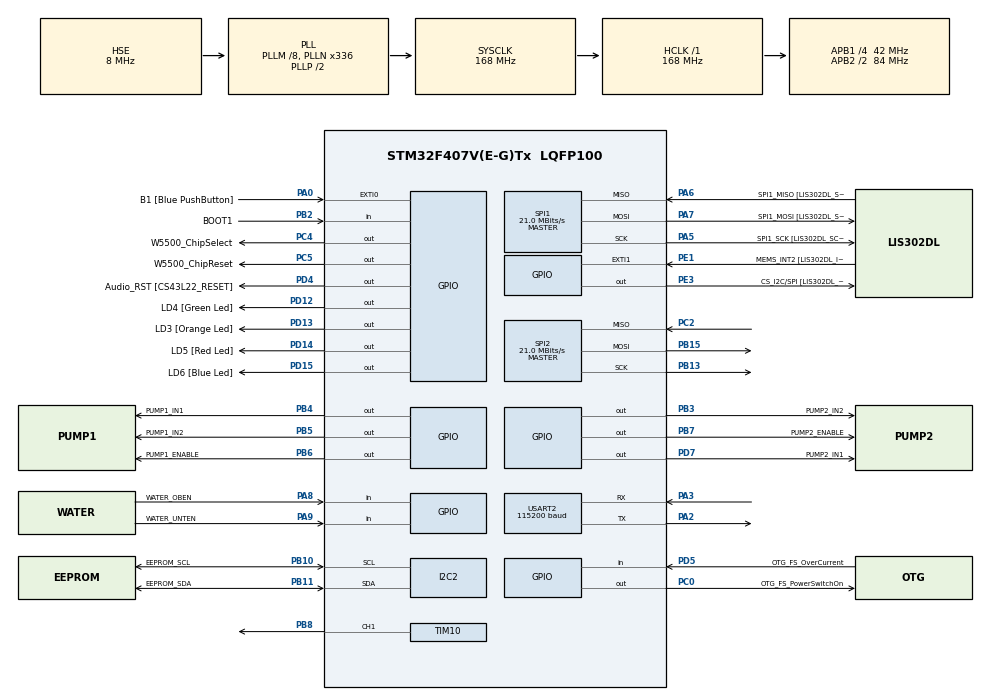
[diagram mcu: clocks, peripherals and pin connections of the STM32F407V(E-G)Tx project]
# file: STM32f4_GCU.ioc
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FREERTOS.Events01=gControllerEventGroup,Static,gControllerEventGroupControlBlock;INITIALIZATION_COMPLETE,Static,INITIALIZATION_COMPLETEControlBlock
FREERTOS.Mutexes01=gControllerStateMutex,Static,gControllerStateMutexControlBlock,Depleted;gGrowCycleConfigMutex,Static,gGrowCycleConfigMutexControlBlock,Depleted;gEepromMutex,Static,gEepromMutexControlBlock,Depleted;gLoggerMutex,Static,gLoggerMutexControlBlock,Depleted;gConfigAvailableMutex,Static,gConfigAvailableMutexControlBlock,Depleted;gStartTimeMutex,Static,gStartTimeMutexControlBlock,Depleted;gMessagePoolMutex,Static,gMessagePoolMutexControlBlock,Depleted;gHeartbeatMutex,Static,gHeartbeatMutexControlBlock,Depleted;gManualModeMutex,Static,gManualModeMutexControlBlock,Depleted
FREERTOS.Queues01=xWaterControllerQueue,1,uint8_t,0,Static,xWaterControllerQueueBuffer,xWaterControllerQueueControlBlock;xLightControllerQueue,1,uint8_t,0,Static,xLightControllerQueueBuffer,xLightControllerQueueControlBlock;xWebSocketQueue,3,6,1,Static,xWebSocketQueueBuffer,xWebSocketQueueControlBlock;xHardwareQueue,2,8,1,Static,xHardwareQueueBuffer,xHardwareQueueControlBlock;xWaterCommandQueue,3,4,1,Static,xWaterCommandQueueBuffer,xWaterCommandQueueControlBlock;xLightCommandQueue,3,4,1,Static,xLightCommandQueueBuffer,xLightCommandQueueControlBlock
FREERTOS.Tasks01=AliveTask,24,512,StartAliveTask,Default,NULL,Static,AliveTaskBuffer,AliveTaskControlBlock;NetworkTask,32,3000,StartNetworkTask,Default,NULL,Dynamic,NULL,NULL;WaterController,25,1024,StartWaterControllerTask,Default,NULL,Static,WaterControllerBuffer,WaterControllerControlBlock;LightTask,26,1024,StartLightTask,Default,NULL,Static,LightTaskBuffer,LightTaskControlBlock;SensorTask,8,512,StartSensorTask,Default,NULL,Static,SensorTaskBuffer,SensorTaskControlBlock;HardwareTask,32,512,StartHardwareTask,Default,NULL,Static,HardwareTaskBuffer,HardwareTaskControlBlock
FREERTOS.configCHECK_FOR_STACK_OVERFLOW=1
FREERTOS.configUSE_NEWLIB_REENTRANT=1
I2C2.I2C_Mode=I2C_Fast
Mcu.Family=STM32F4
Mcu.Name=STM32F407V(E-G)Tx
Mcu.Package=LQFP100
NVIC.PriorityGroup=NVIC_PRIORITYGROUP_4
NVIC.TIM1_UP_TIM10_IRQn=true\:5\:0\:false\:false\:true\:false\:false\:true\:true
NVIC.TimeBase=TIM1_UP_TIM10_IRQn
NVIC.TimeBaseIP=TIM1
PA0-WKUP.GPIO_Label=B1 [Blue PushButton]
PA0-WKUP.GPIO_ModeDefaultEXTI=GPIO_MODE_EVT_RISING
PA0-WKUP.GPIO_PuPd=GPIO_NOPULL
PA0-WKUP.Signal=GPXTI0
PA13.GPIO_Label=SWDIO
PA13.Mode=Serial_Wire
PA13.Signal=SYS_JTMS-SWDIO
PA14.GPIO_Label=SWCLK
PA14.Mode=Serial_Wire
PA14.Signal=SYS_JTCK-SWCLK
PA2.Mode=Asynchronous
PA2.Signal=USART2_TX
PA3.Mode=Asynchronous
PA3.Signal=USART2_RX
PA5.GPIO_Label=SPI1_SCK [LIS302DL_SCL/SPC]
PA5.GPIO_Mode=GPIO_MODE_AF_PP
PA5.GPIO_PuPd=GPIO_NOPULL
PA5.GPIO_Speed=GPIO_SPEED_FREQ_LOW
PA5.Mode=Full_Duplex_Master
PA5.Signal=SPI1_SCK
PA6.GPIO_Label=SPI1_MISO [LIS302DL_SDO]
PA6.GPIO_Mode=GPIO_MODE_AF_PP
PA6.GPIO_PuPd=GPIO_NOPULL
PA6.GPIO_Speed=GPIO_SPEED_FREQ_LOW
PA6.Mode=Full_Duplex_Master
PA6.Signal=SPI1_MISO
PA7.GPIO_Label=SPI1_MOSI [LIS302DL_SDA/SDI/SDO]
PA7.GPIO_Mode=GPIO_MODE_AF_PP
PA7.GPIO_PuPd=GPIO_NOPULL
PA7.GPIO_Speed=GPIO_SPEED_FREQ_LOW
PA7.Mode=Full_Duplex_Master
PA7.Signal=SPI1_MOSI
PA8.GPIO_Label=WATER_OBEN
PA8.Signal=GPIO_Input
PA9.GPIO_Label=WATER_UNTEN
PA9.Signal=GPIO_Input
PB10.GPIO_Label=EEPROM_SCL
PB10.Mode=I2C
PB10.Signal=I2C2_SCL
PB11.GPIO_Label=EEPROM_SDA
PB11.Mode=I2C
PB11.Signal=I2C2_SDA
PB13.Mode=Full_Duplex_Master
PB13.Signal=SPI2_SCK
PB15.Mode=Full_Duplex_Master
PB15.Signal=SPI2_MOSI
PB2.GPIO_Label=BOOT1
PB2.GPIO_Mode=GPIO_MODE_INPUT
PB2.GPIO_PuPd=GPIO_NOPULL
PB2.Signal=GPIO_Input
PB3.GPIO_Label=PUMP2_IN2
PB3.Signal=GPIO_Output
PB4.GPIO_Label=PUMP1_IN1
PB4.Signal=GPIO_Output
PB5.GPIO_Label=PUMP1_IN2
PB5.Signal=GPIO_Output
PB6.GPIO_Label=PUMP1_ENABLE
PB6.Signal=GPIO_Output
PB7.GPIO_Label=PUMP2_ENABLE
PB7.Signal=GPIO_Output
PB8.Signal=S_TIM10_CH1
PC0.GPIO_Label=OTG_FS_PowerSwitchOn
PC0.GPIO_PuPd=GPIO_NOPULL
PC0.GPIO_Speed=GPIO_SPEED_FREQ_LOW
PC0.PinState=GPIO_PIN_SET
PC0.Signal=GPIO_Output
PC14-OSC32_IN.GPIO_Label=PC14-OSC32_IN
PC14-OSC32_IN.Mode=LSE-External-Oscillator
PC14-OSC32_IN.Signal=RCC_OSC32_IN
PC15-OSC32_OUT.GPIO_Label=PC15-OSC32_OUT
PC15-OSC32_OUT.Mode=LSE-External-Oscillator
PC15-OSC32_OUT.Signal=RCC_OSC32_OUT
PC2.Mode=Full_Duplex_Master
PC2.Signal=SPI2_MISO
PC4.GPIO_Label=W5500_ChipSelect
PC4.Signal=GPIO_Output
PC5.GPIO_Label=W5500_ChipReset
PC5.Signal=GPIO_Output
PD12.GPIO_Label=LD4 [Green Led]
PD12.GPIO_PuPd=GPIO_NOPULL
PD12.GPIO_Speed=GPIO_SPEED_FREQ_LOW
PD12.Signal=GPIO_Output
PD13.GPIO_Label=LD3 [Orange Led]
PD13.GPIO_PuPd=GPIO_NOPULL
PD13.GPIO_Speed=GPIO_SPEED_FREQ_LOW
PD13.Signal=GPIO_Output
PD14.GPIO_Label=LD5 [Red Led]
PD14.GPIO_PuPd=GPIO_NOPULL
PD14.GPIO_Speed=GPIO_SPEED_FREQ_LOW
PD14.Signal=GPIO_Output
PD15.GPIO_Label=LD6 [Blue Led]
PD15.GPIO_PuPd=GPIO_NOPULL
PD15.GPIO_Speed=GPIO_SPEED_FREQ_LOW
PD15.Signal=GPIO_Output
PD4.GPIO_Label=Audio_RST [CS43L22_RESET]
PD4.GPIO_PuPd=GPIO_NOPULL
PD4.GPIO_Speed=GPIO_SPEED_FREQ_LOW
PD4.Signal=GPIO_Output
PD5.GPIO_Label=OTG_FS_OverCurrent
PD5.GPIO_Mode=GPIO_MODE_INPUT
PD5.GPIO_PuPd=GPIO_NOPULL
PD5.Signal=GPIO_Input
PD7.GPIO_Label=PUMP2_IN1
PD7.Signal=GPIO_Output
PE1.GPIO_Label=MEMS_INT2 [LIS302DL_INT2]
PE1.GPIO_ModeDefaultEXTI=GPIO_MODE_EVT_RISING
PE1.GPIO_PuPd=GPIO_NOPULL
PE1.Signal=GPXTI1
PE3.GPIO_Label=CS_I2C/SPI [LIS302DL_CS_I2C/SPI]
PE3.GPIO_PuPd=GPIO_NOPULL
PE3.GPIO_Speed=GPIO_SPEED_FREQ_LOW
PE3.Signal=GPIO_Output
PH0-OSC_IN.GPIO_Label=PH0-OSC_IN
PH0-OSC_IN.Mode=HSE-External-Oscillator
PH0-OSC_IN.Signal=RCC_OSC_IN
PH1-OSC_OUT.GPIO_Label=PH1-OSC_OUT
PH1-OSC_OUT.Mode=HSE-External-Oscillator
PH1-OSC_OUT.Signal=RCC_OSC_OUT
ProjectManager.HeapSize=0x200
ProjectManager.StackSize=0x400
ProjectManager.TargetToolchain=STM32CubeIDE
RCC.48MHZClocksFreq_Value=48000000
RCC.AHBFreq_Value=168000000
RCC.APB1CLKDivider=RCC_HCLK_DIV4
RCC.APB1Freq_Value=42000000
RCC.APB1TimFreq_Value=84000000
RCC.APB2CLKDivider=RCC_HCLK_DIV2
RCC.APB2Freq_Value=84000000
RCC.APB2TimFreq_Value=168000000
RCC.CortexFreq_Value=168000000
RCC.HCLKFreq_Value=168000000
RCC.HSE_VALUE=8000000
RCC.HSI_VALUE=16000000
RCC.PLLM=8
RCC.PLLN=336
RCC.PLLQ=7
RCC.PLLSourceVirtual=RCC_PLLSOURCE_HSE
RCC.SYSCLKFreq_VALUE=168000000
RCC.SYSCLKSource=RCC_SYSCLKSOURCE_PLLCLK
RCC.VCOOutputFreq_Value=336000000
SH.S_TIM10_CH1.0=TIM10_CH1,PWM Generation1 CH1
SPI1.BaudRatePrescaler=SPI_BAUDRATEPRESCALER_4
SPI1.BaudRatePrescaler-Full_Duplex_Master=SPI_BAUDRATEPRESCALER_2
SPI1.CalculateBaudRate=21.0 MBits/s
SPI1.CalculateBaudRate-Full_Duplex_Master=42.0 MBits/s
SPI1.Direction=SPI_DIRECTION_2LINES
SPI1.Mode=SPI_MODE_MASTER
SPI1.Mode-Full_Duplex_Master=SPI_MODE_MASTER
SPI1.VirtualType=VM_MASTER
SPI2.CalculateBaudRate=21.0 MBits/s
SPI2.Direction=SPI_DIRECTION_2LINES
SPI2.Mode=SPI_MODE_MASTER
SPI2.VirtualType=VM_MASTER
TIM10.AutoReloadPreload=TIM_AUTORELOAD_PRELOAD_ENABLE
TIM10.Channel=TIM_CHANNEL_1
TIM10.Period=999
TIM10.Prescaler=84
TIM3.Period=999
TIM3.Prescaler=83
TIM6.AutoReloadPreload=TIM_AUTORELOAD_PRELOAD_ENABLE
TIM6.Period=999
TIM6.Prescaler=83
USART2.BaudRate=115200
USART2.VirtualMode=VM_ASYNC
VP_FREERTOS_VS_CMSIS_V2.Mode=CMSIS_V2
VP_SYS_VS_tim1.Mode=TIM1
VP_TIM10_VS_ClockSourceINT.Mode=Enable_Timer
VP_TIM3_VS_ClockSourceINT.Mode=Internal
VP_TIM6_VS_ClockSourceINT.Mode=Enable_Timer
board=STM32F407G-DISC1

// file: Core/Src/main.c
/* USER CODE BEGIN Header */
/**
  ******************************************************************************
  * @file           : main.c
  * @brief          : Main program body
  ******************************************************************************
  * @attention
  *
  * Copyright (c) 2024 STMicroelectronics.
  * All rights reserved.
  *
  * This software is licensed under terms that can be found in the LICENSE file
  * in the root directory of this software component.
  * If no LICENSE file comes with this software, it is provided AS-IS.
  *
  ******************************************************************************
  */
/* USER CODE END Header */
#include "main.h"
#include "cmsis_os.h"

/* USER CODE BEGIN Includes */
#include "stm32f4xx_hal.h"
#include <stdio.h>
#include <string.h>
#include <stdint.h>
#include <stdbool.h>
#include "socket.h"
#include "stdlib.h"
#include "math.h"

/* other */
#include "globals.h"

#include "controller_state.h"
#include "state_manager.h"
#include "uart_redirect.h"
#include "wizchip_init.h"
#include "logger.h"
#include "helper_websocket.h"

/* Tasks */
#include "task_alive.h"
#include "task_hardware.h"
#include "task_light_controller.h"
#include "task_network.h"
#include "task_sensor.h"
#include "task_water_controller.h"

/* USER CODE END Includes */

typedef StaticTask_t osStaticThreadDef_t;
typedef StaticQueue_t osStaticMessageQDef_t;
typedef StaticSemaphore_t osStaticMutexDef_t;
typedef StaticEventGroup_t osStaticEventGroupDef_t;

I2C_HandleTypeDef hi2c2;

SPI_HandleTypeDef hspi1;
SPI_HandleTypeDef hspi2;

TIM_HandleTypeDef htim3;
TIM_HandleTypeDef htim6;
TIM_HandleTypeDef htim10;

UART_HandleTypeDef huart2;

/* Definitions for AliveTask */
osThreadId_t AliveTaskHandle;
uint32_t AliveTaskBuffer[ 512 ];
osStaticThreadDef_t AliveTaskControlBlock;
const osThreadAttr_t AliveTask_attributes = {
  .name = "AliveTask",
  .cb_mem = &AliveTaskControlBlock,
  .cb_size = sizeof(AliveTaskControlBlock),
  .stack_mem = &AliveTaskBuffer[0],
  .stack_size = sizeof(AliveTaskBuffer),
  .priority = (osPriority_t) osPriorityNormal,
};
/* Definitions for NetworkTask */
osThreadId_t NetworkTaskHandle;
const osThreadAttr_t NetworkTask_attributes = {
  .name = "NetworkTask",
  .stack_size = 3000 * 4,
  .priority = (osPriority_t) osPriorityAboveNormal,
};
/* Definitions for WaterController */
osThreadId_t WaterControllerHandle;
uint32_t WaterControllerBuffer[ 1024 ];
osStaticThreadDef_t WaterControllerControlBlock;
const osThreadAttr_t WaterController_attributes = {
  .name = "WaterController",
  .cb_mem = &WaterControllerControlBlock,
  .cb_size = sizeof(WaterControllerControlBlock),
  .stack_mem = &WaterControllerBuffer[0],
  .stack_size = sizeof(WaterControllerBuffer),
  .priority = (osPriority_t) osPriorityNormal1,
};
/* Definitions for LightTask */
osThreadId_t LightTaskHandle;
uint32_t LightTaskBuffer[ 1024 ];
osStaticThreadDef_t LightTaskControlBlock;
const osThreadAttr_t LightTask_attributes = {
  .name = "LightTask",
  .cb_mem = &LightTaskControlBlock,
  .cb_size = sizeof(LightTaskControlBlock),
  .stack_mem = &LightTaskBuffer[0],
  .stack_size = sizeof(LightTaskBuffer),
  .priority = (osPriority_t) osPriorityNormal2,
};
/* Definitions for SensorTask */
osThreadId_t SensorTaskHandle;
uint32_t SensorTaskBuffer[ 512 ];
osStaticThreadDef_t SensorTaskControlBlock;
const osThreadAttr_t SensorTask_attributes = {
  .name = "SensorTask",
  .cb_mem = &SensorTaskControlBlock,
  .cb_size = sizeof(SensorTaskControlBlock),
  .stack_mem = &SensorTaskBuffer[0],
  .stack_size = sizeof(SensorTaskBuffer),
  .priority = (osPriority_t) osPriorityLow,
};
/* Definitions for HardwareTask */
osThreadId_t HardwareTaskHandle;
uint32_t HardwareTaskBuffer[ 512 ];
osStaticThreadDef_t HardwareTaskControlBlock;
const osThreadAttr_t HardwareTask_attributes = {
  .name = "HardwareTask",
  .cb_mem = &HardwareTaskControlBlock,
  .cb_size = sizeof(HardwareTaskControlBlock),
  .stack_mem = &HardwareTaskBuffer[0],
  .stack_size = sizeof(HardwareTaskBuffer),
  .priority = (osPriority_t) osPriorityAboveNormal,
};
/* Definitions for xWaterControllerQueue */
osMessageQueueId_t xWaterControllerQueueHandle;
uint8_t xWaterControllerQueueBuffer[ 1 * sizeof( uint8_t ) ];
osStaticMessageQDef_t xWaterControllerQueueControlBlock;
const osMessageQueueAttr_t xWaterControllerQueue_attributes = {
  .name = "xWaterControllerQueue",
  .cb_mem = &xWaterControllerQueueControlBlock,
  .cb_size = sizeof(xWaterControllerQueueControlBlock),
  .mq_mem = &xWaterControllerQueueBuffer,
  .mq_size = sizeof(xWaterControllerQueueBuffer)
};
/* Definitions for xLightControllerQueue */
osMessageQueueId_t xLightControllerQueueHandle;
uint8_t xLightControllerQueueBuffer[ 1 * sizeof( uint8_t ) ];
osStaticMessageQDef_t xLightControllerQueueControlBlock;
const osMessageQueueAttr_t xLightControllerQueue_attributes = {
  .name = "xLightControllerQueue",
  .cb_mem = &xLightControllerQueueControlBlock,
  .cb_size = sizeof(xLightControllerQueueControlBlock),
  .mq_mem = &xLightControllerQueueBuffer,
  .mq_size = sizeof(xLightControllerQueueBuffer)
};
/* Definitions for xWebSocketQueue */
osMessageQueueId_t xWebSocketQueueHandle;
//uint8_t xWebSocketQueueBuffer[ 3 * 6 ];
MessageForWebSocket* xWebSocketQueueBuffer[ 3 ];
osStaticMessageQDef_t xWebSocketQueueControlBlock;
const osMessageQueueAttr_t xWebSocketQueue_attributes = {
  .name = "xWebSocketQueue",
  .cb_mem = &xWebSocketQueueControlBlock,
  .cb_size = sizeof(xWebSocketQueueControlBlock),
  .mq_mem = &xWebSocketQueueBuffer,
  .mq_size = sizeof(xWebSocketQueueBuffer)
};
/* Definitions for xHardwareQueue */
osMessageQueueId_t xHardwareQueueHandle;
uint8_t xHardwareQueueBuffer[ 2 * 8 ];
osStaticMessageQDef_t xHardwareQueueControlBlock;
const osMessageQueueAttr_t xHardwareQueue_attributes = {
  .name = "xHardwareQueue",
  .cb_mem = &xHardwareQueueControlBlock,
  .cb_size = sizeof(xHardwareQueueControlBlock),
  .mq_mem = &xHardwareQueueBuffer,
  .mq_size = sizeof(xHardwareQueueBuffer)
};
/* Definitions for xWaterCommandQueue */
osMessageQueueId_t xWaterCommandQueueHandle;
uint8_t xWaterCommandQueueBuffer[ 3 * 4 ];
osStaticMessageQDef_t xWaterCommandQueueControlBlock;
const osMessageQueueAttr_t xWaterCommandQueue_attributes = {
  .name = "xWaterCommandQueue",
  .cb_mem = &xWaterCommandQueueControlBlock,
  .cb_size = sizeof(xWaterCommandQueueControlBlock),
  .mq_mem = &xWaterCommandQueueBuffer,
  .mq_size = sizeof(xWaterCommandQueueBuffer)
};
/* Definitions for xLightCommandQueue */
osMessageQueueId_t xLightCommandQueueHandle;
uint8_t xLightCommandQueueBuffer[ 3 * 4 ];
osStaticMessageQDef_t xLightCommandQueueControlBlock;
const osMessageQueueAttr_t xLightCommandQueue_attributes = {
  .name = "xLightCommandQueue",
  .cb_mem = &xLightCommandQueueControlBlock,
  .cb_size = sizeof(xLightCommandQueueControlBlock),
  .mq_mem = &xLightCommandQueueBuffer,
  .mq_size = sizeof(xLightCommandQueueBuffer)
};
/* Definitions for gControllerStateMutex */
osMutexId_t gControllerStateMutexHandle;
osStaticMutexDef_t gControllerStateMutexControlBlock;
const osMutexAttr_t gControllerStateMutex_attributes = {
  .name = "gControllerStateMutex",
  .cb_mem = &gControllerStateMutexControlBlock,
  .cb_size = sizeof(gControllerStateMutexControlBlock),
};
/* Definitions for gGrowCycleConfigMutex */
osMutexId_t gGrowCycleConfigMutexHandle;
osStaticMutexDef_t gGrowCycleConfigMutexControlBlock;
const osMutexAttr_t gGrowCycleConfigMutex_attributes = {
  .name = "gGrowCycleConfigMutex",
  .cb_mem = &gGrowCycleConfigMutexControlBlock,
  .cb_size = sizeof(gGrowCycleConfigMutexControlBlock),
};
/* Definitions for gEepromMutex */
osMutexId_t gEepromMutexHandle;
osStaticMutexDef_t gEepromMutexControlBlock;
const osMutexAttr_t gEepromMutex_attributes = {
  .name = "gEepromMutex",
  .cb_mem = &gEepromMutexControlBlock,
  .cb_size = sizeof(gEepromMutexControlBlock),
};
/* Definitions for gLoggerMutex */
osMutexId_t gLoggerMutexHandle;
osStaticMutexDef_t gLoggerMutexControlBlock;
const osMutexAttr_t gLoggerMutex_attributes = {
  .name = "gLoggerMutex",
  .cb_mem = &gLoggerMutexControlBlock,
  .cb_size = sizeof(gLoggerMutexControlBlock),
};
/* Definitions for gConfigAvailableMutex */
osMutexId_t gConfigAvailableMutexHandle;
osStaticMutexDef_t gConfigAvailableMutexControlBlock;
const osMutexAttr_t gConfigAvailableMutex_attributes = {
  .name = "gConfigAvailableMutex",
  .cb_mem = &gConfigAvailableMutexControlBlock,
  .cb_size = sizeof(gConfigAvailableMutexControlBlock),
};
/* Definitions for gStartTimeMutex */
osMutexId_t gStartTimeMutexHandle;
osStaticMutexDef_t gStartTimeMutexControlBlock;
const osMutexAttr_t gStartTimeMutex_attributes = {
  .name = "gStartTimeMutex",
  .cb_mem = &gStartTimeMutexControlBlock,
  .cb_size = sizeof(gStartTimeMutexControlBlock),
};
/* Definitions for gMessagePoolMutex */
osMutexId_t gMessagePoolMutexHandle;
osStaticMutexDef_t gMessagePoolMutexControlBlock;
const osMutexAttr_t gMessagePoolMutex_attributes = {
  .name = "gMessagePoolMutex",
  .cb_mem = &gMessagePoolMutexControlBlock,
  .cb_size = sizeof(gMessagePoolMutexControlBlock),
};
/* Definitions for gHeartbeatMutex */
osMutexId_t gHeartbeatMutexHandle;
osStaticMutexDef_t gHeartbeatMutexControlBlock;
const osMutexAttr_t gHeartbeatMutex_attributes = {
  .name = "gHeartbeatMutex",
  .cb_mem = &gHeartbeatMutexControlBlock,
  .cb_size = sizeof(gHeartbeatMutexControlBlock),
};
/* Definitions for gManualModeMutex */
osMutexId_t gManualModeMutexHandle;
osStaticMutexDef_t gManualModeMutexControlBlock;
const osMutexAttr_t gManualModeMutex_attributes = {
  .name = "gManualModeMutex",
  .cb_mem = &gManualModeMutexControlBlock,
  .cb_size = sizeof(gManualModeMutexControlBlock),
};
/* Definitions for gControllerEventGroup */
osEventFlagsId_t gControllerEventGroupHandle;
osStaticEventGroupDef_t gControllerEventGroupControlBlock;
const osEventFlagsAttr_t gControllerEventGroup_attributes = {
  .name = "gControllerEventGroup",
  .cb_mem = &gControllerEventGroupControlBlock,
  .cb_size = sizeof(gControllerEventGroupControlBlock),
};
/* Definitions for INITIALIZATION_COMPLETE */
osEventFlagsId_t INITIALIZATION_COMPLETEHandle;
osStaticEventGroupDef_t INITIALIZATION_COMPLETEControlBlock;
const osEventFlagsAttr_t INITIALIZATION_COMPLETE_attributes = {
  .name = "INITIALIZATION_COMPLETE",
  .cb_mem = &INITIALIZATION_COMPLETEControlBlock,
  .cb_size = sizeof(INITIALIZATION_COMPLETEControlBlock),
};
/* USER CODE BEGIN PV */

// globale Variablen
ControllerState gControllerState;
GrowCycleConfig gGrowCycleConfig;
char uidStr[25];
bool gConfigAvailable;
struct tm gStartTimeTm;
bool gTimeSynchronized;
bool is_registered = false;

bool manualMode = false;

/* Definitions for xWebSocketQueue */
#define MESSAGE_POINTER_SIZE sizeof(MessageForWebSocket*)

// Heartbeat-Daten (definiert global)
TaskHeartbeat task_heartbeats[MAX_MONITORED_TASKS];

/* USER CODE END PV */

void SystemClock_Config(void);
static void MX_GPIO_Init(void);
static void MX_SPI1_Init(void);
static void MX_USART2_UART_Init(void);
static void MX_SPI2_Init(void);
static void MX_TIM3_Init(void);
static void MX_TIM6_Init(void);
static void MX_TIM10_Init(void);
static void MX_I2C2_Init(void);
void StartAliveTask(void *argument);
void StartNetworkTask(void *argument);
void StartWaterControllerTask(void *argument);
void StartLightTask(void *argument);
void StartSensorTask(void *argument);
void StartHardwareTask(void *argument);

/* USER CODE BEGIN PFP */
void InitControllerState(void);
/* USER CODE END PFP */

/* USER CODE BEGIN 0 */
// UID auslesen und anzeigen
void GetSTM32UID(char *uidStr) {
    uint32_t uid[3];
    uid[0] = *(uint32_t *)0x1FFF7A10;
    uid[1] = *(uint32_t *)0x1FFF7A14;
    uid[2] = *(uint32_t *)0x1FFF7A18;

    if (sprintf(uidStr, "%08lX%08lX%08lX", uid[0], uid[1], uid[2]) < 0) {
        LOG_INFO("main.c:\t - Error formatting UID string");
        return;
    }

    LOG_INFO("main.c:\t STM32 UID ausgelesen und gespeichert: %s", uidStr);

}

/* USER CODE END 0 */

int main(void)
{

  /* MCU Configuration--------------------------------------------------------*/

  /* Reset of all peripherals, Initializes the Flash interface and the Systick. */
  HAL_Init();

  /* Configure the system clock */
  SystemClock_Config();

  /* Initialize all configured peripherals */
  MX_GPIO_Init();
  MX_SPI1_Init();
  MX_USART2_UART_Init();
  MX_SPI2_Init();
  MX_TIM3_Init();
  MX_TIM6_Init();
  MX_TIM10_Init();
  MX_I2C2_Init();
  /* USER CODE BEGIN 2 */

  LOG_INFO("main.c:\t NextGeneration Growbox Project");

  resetAssert();
  HAL_Delay(300);
  resetDeassert();
  HAL_Delay(300);

  // Initialisieren des Nachrichtenpools und des zugehörigen Mutexes
  initialize_message_pool();

  // Initialisiere gControllerState
  gControllerState.wasserbeckenZustand = false;
  gControllerState.pumpeZulauf = false;
  gControllerState.pumpeAblauf = false;
  gControllerState.sensorOben = false;
  gControllerState.sensorUnten = false;
  gControllerState.lightIntensity = 0;

  GetSTM32UID(uidStr);

  /* USER CODE END 2 */

  /* Init scheduler */
  osKernelInitialize();
  /* Create the mutex(es) */
  /* creation of gControllerStateMutex */
  gControllerStateMutexHandle = osMutexNew(&gControllerStateMutex_attributes);

  /* creation of gGrowCycleConfigMutex */
  gGrowCycleConfigMutexHandle = osMutexNew(&gGrowCycleConfigMutex_attributes);

  /* creation of gEepromMutex */
  gEepromMutexHandle = osMutexNew(&gEepromMutex_attributes);

  /* creation of gLoggerMutex */
  gLoggerMutexHandle = osMutexNew(&gLoggerMutex_attributes);

  /* creation of gConfigAvailableMutex */
  gConfigAvailableMutexHandle = osMutexNew(&gConfigAvailableMutex_attributes);

  /* creation of gStartTimeMutex */
  gStartTimeMutexHandle = osMutexNew(&gStartTimeMutex_attributes);

  /* creation of gMessagePoolMutex */
  gMessagePoolMutexHandle = osMutexNew(&gMessagePoolMutex_attributes);

  /* creation of gHeartbeatMutex */
  gHeartbeatMutexHandle = osMutexNew(&gHeartbeatMutex_attributes);

  /* creation of gManualModeMutex */
  gManualModeMutexHandle = osMutexNew(&gManualModeMutex_attributes);

  /* Create the queue(s) */
  /* creation of xWaterControllerQueue */
  xWaterControllerQueueHandle = osMessageQueueNew (1, sizeof(uint8_t), &xWaterControllerQueue_attributes);

  /* creation of xLightControllerQueue */
  xLightControllerQueueHandle = osMessageQueueNew (1, sizeof(uint8_t), &xLightControllerQueue_attributes);

  /* creation of xWebSocketQueue */
  xWebSocketQueueHandle = osMessageQueueNew (3, sizeof(MessageForWebSocket*), &xWebSocketQueue_attributes);

  /* creation of xHardwareQueue */
  xHardwareQueueHandle = osMessageQueueNew (2, 8, &xHardwareQueue_attributes);

  /* creation of xWaterCommandQueue */
  xWaterCommandQueueHandle = osMessageQueueNew (3, 4, &xWaterCommandQueue_attributes);

  /* creation of xLightCommandQueue */
  xLightCommandQueueHandle = osMessageQueueNew (3, 4, &xLightCommandQueue_attributes);

  /* USER CODE BEGIN RTOS_QUEUES */
  if (xWaterControllerQueueHandle == NULL) {
        printf("main.c:\t Error: Failed to create xWaterControllerQueue\r\n");
    }

  if (xLightControllerQueueHandle == NULL) {
      printf("main.c:\t Error: Failed to create xLightControllerQueue\r\n");
  }

  if (xHardwareQueueHandle == NULL) {
       printf("main.c:\t Error: Failed to create xAutoGrowQueue\r\n");
   }

  if (xWaterCommandQueueHandle == NULL) {
       printf("main.c:\t Error: Failed to create xWaterCommandQueue\r\n");
   }

  if (xLightCommandQueueHandle == NULL) {
       printf("main.c:\t Error: Failed to create xLightCommandQueue\r\n");
   }

  /* USER CODE END RTOS_QUEUES */

  /* Create the thread(s) */
  /* creation of AliveTask */
  AliveTaskHandle = osThreadNew(StartAliveTask, NULL, &AliveTask_attributes);

  /* creation of NetworkTask */
  NetworkTaskHandle = osThreadNew(StartNetworkTask, NULL, &NetworkTask_attributes);

  /* creation of WaterController */
  WaterControllerHandle = osThreadNew(StartWaterControllerTask, NULL, &WaterController_attributes);

  /* creation of LightTask */
  LightTaskHandle = osThreadNew(StartLightTask, NULL, &LightTask_attributes);

  /* creation of SensorTask */
  SensorTaskHandle = osThreadNew(StartSensorTask, NULL, &SensorTask_attributes);

  /* creation of HardwareTask */
  HardwareTaskHandle = osThreadNew(StartHardwareTask, NULL, &HardwareTask_attributes);

  /* creation of gControllerEventGroup */
  gControllerEventGroupHandle = osEventFlagsNew(&gControllerEventGroup_attributes);

  /* creation of INITIALIZATION_COMPLETE */
  INITIALIZATION_COMPLETEHandle = osEventFlagsNew(&INITIALIZATION_COMPLETE_attributes);

  /* USER CODE BEGIN RTOS_EVENTS */

  LOG_INFO("main.c:\t - check if all Tasks are created correctly...");
  // check if all Tasks are created correctly
  if (AliveTaskHandle == NULL) {
	printf("main.c:\t - Error: Failed to create AliveTask\r\n");
    Error_Handler();
  }
   if (NetworkTaskHandle == NULL) {
	printf("main.c:\t - Error: Failed to create NetworkTaskHandle\r\n");
    Error_Handler();
  }

  if (WaterControllerHandle == NULL) {
	printf("main.c:\t - Error: Failed to create WaterControllerHandle\r\n");
    Error_Handler();
  }

  if (LightTaskHandle == NULL) {
	printf("main.c:\t - Error: Failed to create LightTaskHandle\r\n");
    Error_Handler();
  }

  if (SensorTaskHandle == NULL) {
	printf("main.c:\t - Error: Failed to create SensorTaskHandle\r\n");
    Error_Handler();
  }

  if (HardwareTaskHandle == NULL) {
	printf("main.c:\t - Error: Failed to create HardwareTaskHandle\r\n");
    Error_Handler();
  }

  LOG_INFO("main.c:\t check done");

  /* Überprüfen Sie, ob die Mutexe erfolgreich erstellt wurden */
  if (gControllerStateMutexHandle == NULL ||
      gGrowCycleConfigMutexHandle == NULL ||
      gEepromMutexHandle == NULL) {
      printf("main.c:\t Error: Failed to create one or more mutexes\r\n");
      Error_Handler();
  }

  LOG_INFO("main.c:\t calling InitializeGrowCycleConfig");
  InitializeGrowCycleConfig();

  printf("main.c:\t - done\r\n");
  /* add events, ... */

  /* USER CODE END RTOS_EVENTS */

  /* Start scheduler */
  osKernelStart();

  /* We should never get here as control is now taken by the scheduler */

  /* Infinite loop */
  while (1)
  {

  }
}

void SystemClock_Config(void)
{
  RCC_OscInitTypeDef RCC_OscInitStruct = {0};
  RCC_ClkInitTypeDef RCC_ClkInitStruct = {0};

  /** Configure the main internal regulator output voltage
  */
  __HAL_RCC_PWR_CLK_ENABLE();
  __HAL_PWR_VOLTAGESCALING_CONFIG(PWR_REGULATOR_VOLTAGE_SCALE1);

  /** Initializes the RCC Oscillators according to the specified parameters
  * in the RCC_OscInitTypeDef structure.
  */
  RCC_OscInitStruct.OscillatorType = RCC_OSCILLATORTYPE_HSE;
  RCC_OscInitStruct.HSEState = RCC_HSE_ON;
  RCC_OscInitStruct.PLL.PLLState = RCC_PLL_ON;
  RCC_OscInitStruct.PLL.PLLSource = RCC_PLLSOURCE_HSE;
  RCC_OscInitStruct.PLL.PLLM = 8;
  RCC_OscInitStruct.PLL.PLLN = 336;
  RCC_OscInitStruct.PLL.PLLP = RCC_PLLP_DIV2;
  RCC_OscInitStruct.PLL.PLLQ = 7;
  if (HAL_RCC_OscConfig(&RCC_OscInitStruct) != HAL_OK)
  {
    Error_Handler();
  }

  /** Initializes the CPU, AHB and APB buses clocks
  */
  RCC_ClkInitStruct.ClockType = RCC_CLOCKTYPE_HCLK|RCC_CLOCKTYPE_SYSCLK
                              |RCC_CLOCKTYPE_PCLK1|RCC_CLOCKTYPE_PCLK2;
  RCC_ClkInitStruct.SYSCLKSource = RCC_SYSCLKSOURCE_PLLCLK;
  RCC_ClkInitStruct.AHBCLKDivider = RCC_SYSCLK_DIV1;
  RCC_ClkInitStruct.APB1CLKDivider = RCC_HCLK_DIV4;
  RCC_ClkInitStruct.APB2CLKDivider = RCC_HCLK_DIV2;

  if (HAL_RCC_ClockConfig(&RCC_ClkInitStruct, FLASH_LATENCY_5) != HAL_OK)
  {
    Error_Handler();
  }
}

static void MX_I2C2_Init(void)
{

  hi2c2.Instance = I2C2;
  hi2c2.Init.ClockSpeed = 400000;
  hi2c2.Init.DutyCycle = I2C_DUTYCYCLE_2;
  hi2c2.Init.OwnAddress1 = 0;
  hi2c2.Init.AddressingMode = I2C_ADDRESSINGMODE_7BIT;
  hi2c2.Init.DualAddressMode = I2C_DUALADDRESS_DISABLE;
  hi2c2.Init.OwnAddress2 = 0;
  hi2c2.Init.GeneralCallMode = I2C_GENERALCALL_DISABLE;
  hi2c2.Init.NoStretchMode = I2C_NOSTRETCH_DISABLE;
  if (HAL_I2C_Init(&hi2c2) != HAL_OK)
  {
    Error_Handler();
  }

}

static void MX_SPI1_Init(void)
{

  /* SPI1 parameter configuration*/
  hspi1.Instance = SPI1;
  hspi1.Init.Mode = SPI_MODE_MASTER;
  hspi1.Init.Direction = SPI_DIRECTION_2LINES;
  hspi1.Init.DataSize = SPI_DATASIZE_8BIT;
  hspi1.Init.CLKPolarity = SPI_POLARITY_LOW;
  hspi1.Init.CLKPhase = SPI_PHASE_1EDGE;
  hspi1.Init.NSS = SPI_NSS_SOFT;
  hspi1.Init.BaudRatePrescaler = SPI_BAUDRATEPRESCALER_4;
  hspi1.Init.FirstBit = SPI_FIRSTBIT_MSB;
  hspi1.Init.TIMode = SPI_TIMODE_DISABLE;
  hspi1.Init.CRCCalculation = SPI_CRCCALCULATION_DISABLE;
  hspi1.Init.CRCPolynomial = 10;
  if (HAL_SPI_Init(&hspi1) != HAL_OK)
  {
    Error_Handler();
  }

}

static void MX_SPI2_Init(void)
{

  /* SPI2 parameter configuration*/
  hspi2.Instance = SPI2;
  hspi2.Init.Mode = SPI_MODE_MASTER;
  hspi2.Init.Direction = SPI_DIRECTION_2LINES;
  hspi2.Init.DataSize = SPI_DATASIZE_8BIT;
  hspi2.Init.CLKPolarity = SPI_POLARITY_LOW;
  hspi2.Init.CLKPhase = SPI_PHASE_1EDGE;
  hspi2.Init.NSS = SPI_NSS_SOFT;
  hspi2.Init.BaudRatePrescaler = SPI_BAUDRATEPRESCALER_2;
  hspi2.Init.FirstBit = SPI_FIRSTBIT_MSB;
  hspi2.Init.TIMode = SPI_TIMODE_DISABLE;
  hspi2.Init.CRCCalculation = SPI_CRCCALCULATION_DISABLE;
  hspi2.Init.CRCPolynomial = 10;
  if (HAL_SPI_Init(&hspi2) != HAL_OK)
  {
    Error_Handler();
  }

}

static void MX_TIM3_Init(void)
{

  TIM_ClockConfigTypeDef sClockSourceConfig = {0};
  TIM_MasterConfigTypeDef sMasterConfig = {0};

  htim3.Instance = TIM3;
  htim3.Init.Prescaler = 83;
  htim3.Init.CounterMode = TIM_COUNTERMODE_UP;
  htim3.Init.Period = 999;
  htim3.Init.ClockDivision = TIM_CLOCKDIVISION_DIV1;
  htim3.Init.AutoReloadPreload = TIM_AUTORELOAD_PRELOAD_DISABLE;
  if (HAL_TIM_Base_Init(&htim3) != HAL_OK)
  {
    Error_Handler();
  }
  sClockSourceConfig.ClockSource = TIM_CLOCKSOURCE_INTERNAL;
  if (HAL_TIM_ConfigClockSource(&htim3, &sClockSourceConfig) != HAL_OK)
  {
    Error_Handler();
  }
  sMasterConfig.MasterOutputTrigger = TIM_TRGO_RESET;
  sMasterConfig.MasterSlaveMode = TIM_MASTERSLAVEMODE_DISABLE;
  if (HAL_TIMEx_MasterConfigSynchronization(&htim3, &sMasterConfig) != HAL_OK)
  {
    Error_Handler();
  }

}

static void MX_TIM6_Init(void)
{

  TIM_MasterConfigTypeDef sMasterConfig = {0};

  htim6.Instance = TIM6;
  htim6.Init.Prescaler = 83;
  htim6.Init.CounterMode = TIM_COUNTERMODE_UP;
  htim6.Init.Period = 999;
  htim6.Init.AutoReloadPreload = TIM_AUTORELOAD_PRELOAD_ENABLE;
  if (HAL_TIM_Base_Init(&htim6) != HAL_OK)
  {
    Error_Handler();
  }
  sMasterConfig.MasterOutputTrigger = TIM_TRGO_RESET;
  sMasterConfig.MasterSlaveMode = TIM_MASTERSLAVEMODE_DISABLE;
  if (HAL_TIMEx_MasterConfigSynchronization(&htim6, &sMasterConfig) != HAL_OK)
  {
    Error_Handler();
  }

}

static void MX_TIM10_Init(void)
{

  TIM_OC_InitTypeDef sConfigOC = {0};

  htim10.Instance = TIM10;
  htim10.Init.Prescaler = 84;
  htim10.Init.CounterMode = TIM_COUNTERMODE_UP;
  htim10.Init.Period = 999;
  htim10.Init.ClockDivision = TIM_CLOCKDIVISION_DIV1;
  htim10.Init.AutoReloadPreload = TIM_AUTORELOAD_PRELOAD_ENABLE;
  if (HAL_TIM_Base_Init(&htim10) != HAL_OK)
  {
    Error_Handler();
  }
  if (HAL_TIM_PWM_Init(&htim10) != HAL_OK)
  {
    Error_Handler();
  }
  sConfigOC.OCMode = TIM_OCMODE_PWM1;
  sConfigOC.Pulse = 0;
  sConfigOC.OCPolarity = TIM_OCPOLARITY_HIGH;
  sConfigOC.OCFastMode = TIM_OCFAST_DISABLE;
  if (HAL_TIM_PWM_ConfigChannel(&htim10, &sConfigOC, TIM_CHANNEL_1) != HAL_OK)
  {
    Error_Handler();
  }
  HAL_TIM_MspPostInit(&htim10);

}

static void MX_USART2_UART_Init(void)
{

  huart2.Instance = USART2;
  huart2.Init.BaudRate = 115200;
  huart2.Init.WordLength = UART_WORDLENGTH_8B;
  huart2.Init.StopBits = UART_STOPBITS_1;
  huart2.Init.Parity = UART_PARITY_NONE;
  huart2.Init.Mode = UART_MODE_TX_RX;
  huart2.Init.HwFlowCtl = UART_HWCONTROL_NONE;
  huart2.Init.OverSampling = UART_OVERSAMPLING_16;
  if (HAL_UART_Init(&huart2) != HAL_OK)
  {
    Error_Handler();
  }

}

static void MX_GPIO_Init(void)
{
  GPIO_InitTypeDef GPIO_InitStruct = {0};

  /* GPIO Ports Clock Enable */
  __HAL_RCC_GPIOE_CLK_ENABLE();
  __HAL_RCC_GPIOC_CLK_ENABLE();
  __HAL_RCC_GPIOH_CLK_ENABLE();
  __HAL_RCC_GPIOA_CLK_ENABLE();
  __HAL_RCC_GPIOB_CLK_ENABLE();
  __HAL_RCC_GPIOD_CLK_ENABLE();

  /*Configure GPIO pin Output Level */
  HAL_GPIO_WritePin(CS_I2C_SPI_GPIO_Port, CS_I2C_SPI_Pin, GPIO_PIN_RESET);

  /*Configure GPIO pin Output Level */
  HAL_GPIO_WritePin(OTG_FS_PowerSwitchOn_GPIO_Port, OTG_FS_PowerSwitchOn_Pin, GPIO_PIN_SET);

  /*Configure GPIO pin Output Level */
  HAL_GPIO_WritePin(GPIOC, W5500_ChipSelect_Pin|W5500_ChipReset_Pin, GPIO_PIN_RESET);

  /*Configure GPIO pin Output Level */
  HAL_GPIO_WritePin(GPIOD, LD4_Pin|LD3_Pin|LD5_Pin|LD6_Pin
                          |Audio_RST_Pin|PUMP2_IN1_Pin, GPIO_PIN_RESET);

  /*Configure GPIO pin Output Level */
  HAL_GPIO_WritePin(GPIOB, PUMP2_IN2_Pin|PUMP1_IN1_Pin|PUMP1_IN2_Pin|PUMP1_ENABLE_Pin
                          |PUMP2_ENABLE_Pin, GPIO_PIN_RESET);

  /*Configure GPIO pin : CS_I2C_SPI_Pin */
  GPIO_InitStruct.Pin = CS_I2C_SPI_Pin;
  GPIO_InitStruct.Mode = GPIO_MODE_OUTPUT_PP;
  GPIO_InitStruct.Pull = GPIO_NOPULL;
  GPIO_InitStruct.Speed = GPIO_SPEED_FREQ_LOW;
  HAL_GPIO_Init(CS_I2C_SPI_GPIO_Port, &GPIO_InitStruct);

  /*Configure GPIO pins : OTG_FS_PowerSwitchOn_Pin W5500_ChipSelect_Pin W5500_ChipReset_Pin */
  GPIO_InitStruct.Pin = OTG_FS_PowerSwitchOn_Pin|W5500_ChipSelect_Pin|W5500_ChipReset_Pin;
  GPIO_InitStruct.Mode = GPIO_MODE_OUTPUT_PP;
  GPIO_InitStruct.Pull = GPIO_NOPULL;
  GPIO_InitStruct.Speed = GPIO_SPEED_FREQ_LOW;
  HAL_GPIO_Init(GPIOC, &GPIO_InitStruct);

  /*Configure GPIO pin : B1_Pin */
  GPIO_InitStruct.Pin = B1_Pin;
  GPIO_InitStruct.Mode = GPIO_MODE_EVT_RISING;
  GPIO_InitStruct.Pull = GPIO_NOPULL;
  HAL_GPIO_Init(B1_GPIO_Port, &GPIO_InitStruct);

  /*Configure GPIO pin : BOOT1_Pin */
  GPIO_InitStruct.Pin = BOOT1_Pin;
  GPIO_InitStruct.Mode = GPIO_MODE_INPUT;
  GPIO_InitStruct.Pull = GPIO_NOPULL;
  HAL_GPIO_Init(BOOT1_GPIO_Port, &GPIO_InitStruct);

  /*Configure GPIO pins : LD4_Pin LD3_Pin LD5_Pin LD6_Pin
                           Audio_RST_Pin PUMP2_IN1_Pin */
  GPIO_InitStruct.Pin = LD4_Pin|LD3_Pin|LD5_Pin|LD6_Pin
                          |Audio_RST_Pin|PUMP2_IN1_Pin;
  GPIO_InitStruct.Mode = GPIO_MODE_OUTPUT_PP;
  GPIO_InitStruct.Pull = GPIO_NOPULL;
  GPIO_InitStruct.Speed = GPIO_SPEED_FREQ_LOW;
  HAL_GPIO_Init(GPIOD, &GPIO_InitStruct);

  /*Configure GPIO pins : WATER_OBEN_Pin WATER_UNTEN_Pin */
  GPIO_InitStruct.Pin = WATER_OBEN_Pin|WATER_UNTEN_Pin;
  GPIO_InitStruct.Mode = GPIO_MODE_INPUT;
  GPIO_InitStruct.Pull = GPIO_NOPULL;
  HAL_GPIO_Init(GPIOA, &GPIO_InitStruct);

  /*Configure GPIO pin : OTG_FS_OverCurrent_Pin */
  GPIO_InitStruct.Pin = OTG_FS_OverCurrent_Pin;
  GPIO_InitStruct.Mode = GPIO_MODE_INPUT;
  GPIO_InitStruct.Pull = GPIO_NOPULL;
  HAL_GPIO_Init(OTG_FS_OverCurrent_GPIO_Port, &GPIO_InitStruct);

  /*Configure GPIO pins : PUMP2_IN2_Pin PUMP1_IN1_Pin PUMP1_IN2_Pin PUMP1_ENABLE_Pin
                           PUMP2_ENABLE_Pin */
  GPIO_InitStruct.Pin = PUMP2_IN2_Pin|PUMP1_IN1_Pin|PUMP1_IN2_Pin|PUMP1_ENABLE_Pin
                          |PUMP2_ENABLE_Pin;
  GPIO_InitStruct.Mode = GPIO_MODE_OUTPUT_PP;
  GPIO_InitStruct.Pull = GPIO_NOPULL;
  GPIO_InitStruct.Speed = GPIO_SPEED_FREQ_LOW;
  HAL_GPIO_Init(GPIOB, &GPIO_InitStruct);

  /*Configure GPIO pin : MEMS_INT2_Pin */
  GPIO_InitStruct.Pin = MEMS_INT2_Pin;
  GPIO_InitStruct.Mode = GPIO_MODE_EVT_RISING;
  GPIO_InitStruct.Pull = GPIO_NOPULL;
  HAL_GPIO_Init(MEMS_INT2_GPIO_Port, &GPIO_InitStruct);

}

/* USER CODE BEGIN 4 */

// Funktion zur Initialisierung der Heartbeat-Daten
void InitializeTaskHeartbeats(void) {
    osMutexAcquire(gHeartbeatMutexHandle, osWaitForever);
    for (int i = 0; i < MAX_MONITORED_TASKS; i++) {
        task_heartbeats[i].task_name = NULL;
        task_heartbeats[i].last_heartbeat = 0;
    }
    osMutexRelease(gHeartbeatMutexHandle);
}

// Funktion zur Registrierung einer Task
bool RegisterTaskHeartbeat(const char *task_name) {
    bool registered = false;
    osMutexAcquire(gHeartbeatMutexHandle, osWaitForever);
    for (int i = 0; i < MAX_MONITORED_TASKS; i++) {
        if (task_heartbeats[i].task_name == NULL) {
            task_heartbeats[i].task_name = task_name;
            task_heartbeats[i].last_heartbeat = HAL_GetTick();
            registered = true;
            break;
        }
    }
    osMutexRelease(gHeartbeatMutexHandle);
    return registered;
}

// Funktion zur Aktualisierung des Heartbeats einer Task
void UpdateTaskHeartbeat(const char *task_name) {
    osMutexAcquire(gHeartbeatMutexHandle, osWaitForever);
    for (int i = 0; i < MAX_MONITORED_TASKS; i++) {
        if (task_heartbeats[i].task_name != NULL && strcmp(task_heartbeats[i].task_name, task_name) == 0) {
            task_heartbeats[i].last_heartbeat = HAL_GetTick();
            break;
        }
    }
    osMutexRelease(gHeartbeatMutexHandle);
}
/* USER CODE END 4 */

void HAL_TIM_PeriodElapsedCallback(TIM_HandleTypeDef *htim)
{
  if (htim->Instance == TIM1) {
    HAL_IncTick();
  }
}

void Error_Handler(void)
{
  __disable_irq();
  while (1)
  {
  }
}

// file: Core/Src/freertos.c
/* USER CODE BEGIN Header */
/**
  ******************************************************************************
  * File Name          : freertos.c
  * Description        : Code for freertos applications
  ******************************************************************************
  * @attention
  *
  * Copyright (c) 2024 STMicroelectronics.
  * All rights reserved.
  *
  * This software is licensed under terms that can be found in the LICENSE file
  * in the root directory of this software component.
  * If no LICENSE file comes with this software, it is provided AS-IS.
  *
  ******************************************************************************
  */
/* USER CODE END Header */

#include "FreeRTOS.h"
#include "task.h"
#include "main.h"

/* USER CODE BEGIN Includes */
#include "uart_redirect.h"
#include <stdio.h>
/* USER CODE END Includes */

/* Hook prototypes */
void vApplicationStackOverflowHook(xTaskHandle xTask, signed char *pcTaskName);

/* USER CODE BEGIN 4 */
void vApplicationStackOverflowHook(xTaskHandle xTask, signed char *pcTaskName)
{
   /* Run time stack overflow checking is performed if
   configCHECK_FOR_STACK_OVERFLOW is defined to 1 or 2. This hook function is
   called if a stack overflow is detected. */
    printf("Stack overflow in task: %s\n", pcTaskName);

}
/* USER CODE END 4 */
